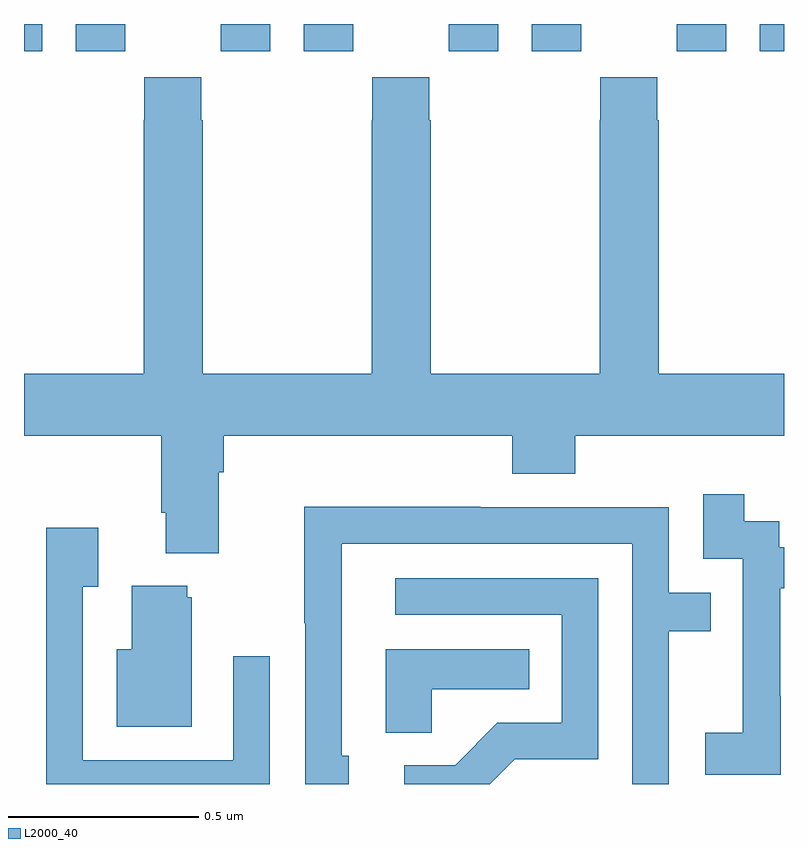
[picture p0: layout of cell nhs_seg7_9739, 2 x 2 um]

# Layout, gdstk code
import gdstk
lib = gdstk.Library(unit=1e-6, precision=1e-09)
def R(c, l, rs):  # rectangles x0, y0, x1, y1
    for r in rs: c.add(gdstk.rectangle(r[:2], r[2:], *l))
def P(c, l, *ps):  # polygons
    for p in ps: c.add(gdstk.Polygon(p, *l))
L2000_40 = (2000, 40)

nhs_seg7_9739 = lib.new_cell('nhs_seg7_9739')
R(nhs_seg7_9739, L2000_40, [(241,1034.928,241.048,1035), (241.136,1034.928,241.266,1035), (241.518,1034.928,241.648,1035), (241.736,1034.928,241.866,1035), (242.118,1034.928,242.248,1035), (242.336,1034.928,242.466,1035), (242.718,1034.928,242.848,1035), (242.936,1034.928,243,1035)])
P(nhs_seg7_9739, L2000_40, [(241.513,1033.82),(241.526,1033.82),(241.526,1033.916),(242.285,1033.916),(242.285,1033.817),(242.45,1033.817),(242.45,1033.916),(243,1033.916),(243,1034.08),(242.67,1034.08),(242.67,1034.747),(242.667,1034.747),(242.667,1034.86),(242.517,1034.86),(242.517,1034.747),(242.515,1034.747),(242.515,1034.08),(242.07,1034.08),(242.07,1034.747),(242.067,1034.747),(242.067,1034.86),(241.917,1034.86),(241.917,1034.747),(241.915,1034.747),(241.915,1034.08),(241.47,1034.08),(241.47,1034.747),(241.467,1034.747),(241.467,1034.86),(241.317,1034.86),(241.317,1034.747),(241.315,1034.747),(241.315,1034.08),(241,1034.08),(241,1033.916),(241.361,1033.916),(241.361,1033.714),(241.373,1033.714),(241.373,1033.607),(241.513,1033.607)],
  [(242.991,1033.231),(242.99,1033.231),(242.99,1033.515),(243,1033.515),(243,1033.623),(242.988,1033.623),(242.988,1033.692),(242.896,1033.692),(242.896,1033.762),(242.787,1033.762),(242.787,1033.593),(242.892,1033.593),(242.892,1033.364),(242.891,1033.364),(242.891,1033.135),(242.793,1033.135),(242.793,1033.025),(242.991,1033.025)],
  [(241.855,1033.074),(241.836,1033.074),(241.836,1033.632),(242.601,1033.632),(242.601,1033),(242.697,1033),(242.697,1033.402),(242.807,1033.402),(242.807,1033.503),(242.697,1033.503),(242.697,1033.728),(242.201,1033.728),(242.201,1033.73),(241.738,1033.73),(241.738,1033.423),(241.74,1033.423),(241.74,1033),(241.855,1033)],
  [(241.647,1033.336),(241.551,1033.336),(241.551,1033.062),(241.155,1033.062),(241.155,1033.519),(241.195,1033.519),(241.195,1033.675),(241.059,1033.675),(241.059,1033),(241.647,1033)],
  [(242.292,1033.065),(242.511,1033.065),(242.511,1033.542),(241.977,1033.542),(241.977,1033.446),(242.415,1033.446),(242.415,1033.161),(242.246,1033.161),(242.135,1033.05),(242.001,1033.05),(242.001,1033),(242.226,1033)],
  [(241.441,1033.491),(241.43,1033.491),(241.43,1033.522),(241.283,1033.522),(241.283,1033.354),(241.244,1033.354),(241.244,1033.151),(241.441,1033.151)],
  [(242.073,1033.25),(242.33,1033.25),(242.33,1033.354),(241.952,1033.354),(241.952,1033.135),(242.073,1033.135)])

lib.write_gds('nhs_seg7_9739.gds')
